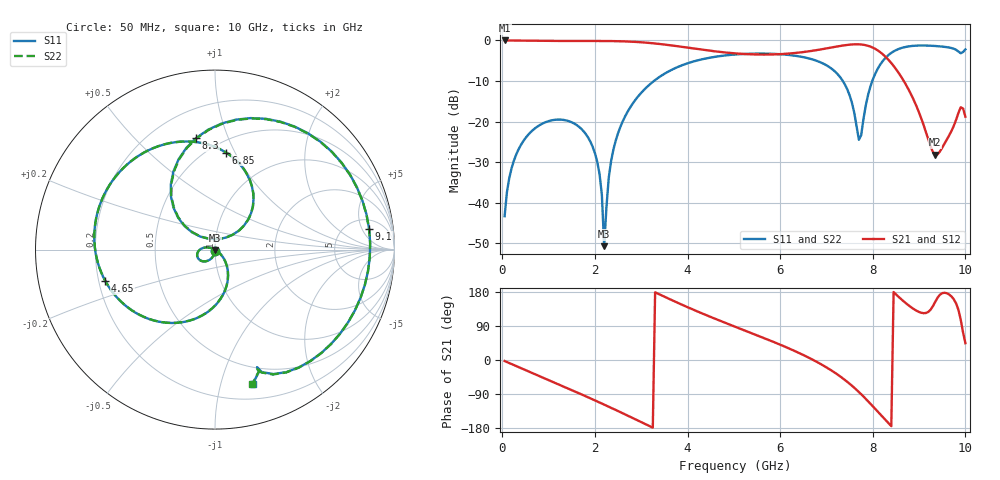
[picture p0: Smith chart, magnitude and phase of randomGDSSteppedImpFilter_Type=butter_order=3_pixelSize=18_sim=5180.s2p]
! freq	dB(S11)	phase(S11)	dB(S12)	phase(S12)
!  dB(S21)	phase(S21)	dB(S22)	phase(S22)
!S-par simulation data
#  GHz  S  DB  R 50
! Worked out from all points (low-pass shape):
!   200 points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, 50 MHz to 10 GHz, reference 50 ohm
!   highest |S21| = 0.00 dB at 50 MHz (marker M1); lowest = -28.2 dB at 9.35 GHz (marker M2)
!   |S21| within 3 dB of the highest: start of sweep to 4.848 GHz; 6.396 GHz to 8.173 GHz (1.777 GHz wide, 24.4 % of centre)
!   lowest |S11| = -50.7 dB at 2.2 GHz (marker M3), VSWR 1.01, Z = 49.8 - j0.226 ohm
!   |S11| at or under -10 dB: start of sweep to 3.272 GHz; 7.354 GHz to 7.989 GHz (635.3 MHz wide, 8.28 % of centre)
!   |S22| runs from -50.3 to -1.2 dB; largest |S21 - S12| = 0
!   S11 on the Smith chart (normalised r, x): 50 MHz: 1.00, -0.01; 4.65 GHz: 0.23, -0.13; 6.85 GHz: 0.60, +0.92; 8.3 GHz: 0.37, +0.77; 9.1 GHz: 7, +7; 10 GHz: 0.34, -1.27
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0.05  -43.29 -91.6  -0.00 -2.7  -0.00 -2.7  -43.29 -91.6
0.25  -29.62 -103.3  -0.03 -13.4  -0.03 -13.4  -29.62 -103.3
0.6  -22.73 -122.5  -0.06 -31.9  -0.06 -31.9  -22.73 -122.5
1.75  -22.30 176.3  -0.13 -92.9  -0.13 -92.9  -22.30 176.5
2.1  -32.89 157.6  -0.13 -112.1  -0.13 -112.1  -32.88 158.6
2.2  -50.66 -129.4  -0.14 -117.7  -0.14 -117.7  -50.32 -137.2
2.3  -33.69 -35.1  -0.15 -123.3  -0.15 -123.3  -33.70 -36.3
2.5  -22.83 -46.0  -0.19 -134.7  -0.19 -134.7  -22.83 -46.4
3.4  -8.94 -98.0  -0.87 172.8  -0.87 172.8  -8.94 -98.1
4.65  -3.94 -164.0  -2.76 106.1  -2.76 106.1  -3.94 -164.1
5.05  -3.44 176.9  -3.21 86.8  -3.21 86.8  -3.45 176.8
6.7  -4.68 92.9  -2.54 1.0  -2.54 1.0  -4.68 92.7
6.85  -5.29 83.5  -2.27 -8.9  -2.27 -8.9  -5.29 83.3
7.4  -10.89 45.3  -1.18 -52.8  -1.18 -52.8  -10.89 45.1
7.7  -24.46 76.2  -0.96 -84.4  -0.96 -84.4  -24.40 76.0
7.95  -11.31 139.1  -1.52 -115.5  -1.52 -115.5  -11.31 138.7
8.3  -4.00 99.5  -4.31 -161.8  -4.31 -161.8  -4.00 99.1
8.35  -3.49 93.3  -4.92 -168.2  -4.92 -168.2  -3.49 92.8
8.65  -1.76 57.1  -9.61 156.6  -9.61 156.6  -1.76 56.7
9.1  -1.25 7.7  -20.92 123.6  -20.92 123.6  -1.25 7.3
9.35  -1.37 -18.2  -28.17 153.9  -28.17 153.9  -1.37 -18.6
10  -2.21 -74.2  -18.78 44.4  -18.78 44.4  -2.20 -74.5
